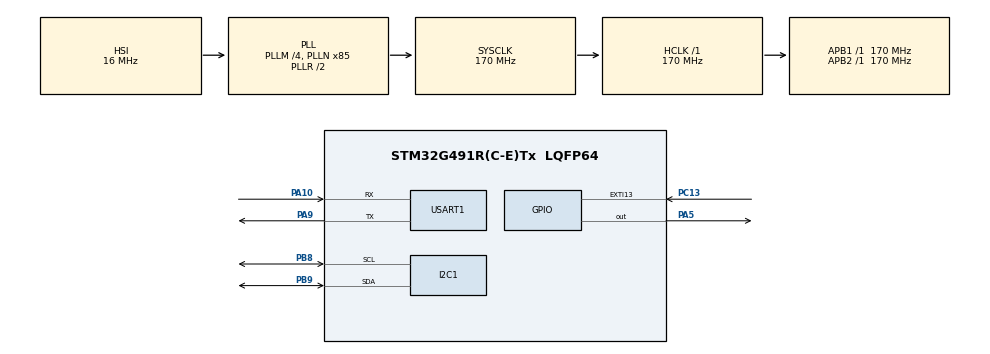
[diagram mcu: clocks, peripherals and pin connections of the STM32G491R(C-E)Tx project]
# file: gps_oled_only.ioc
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I2C1.Timing=0x40B285C2
Mcu.Family=STM32G4
Mcu.Name=STM32G491R(C-E)Tx
Mcu.Package=LQFP64
NUCLEO-G491RE.BUTTON=1
NUCLEO-G491RE.LD2=true
NUCLEO-G491RE.VCP=true
NVIC.EXTI15_10_IRQn=true\:0\:0\:false\:false\:true\:true\:true\:true
NVIC.PriorityGroup=NVIC_PRIORITYGROUP_4
NVIC.USART1_IRQn=true\:0\:0\:false\:false\:true\:true\:true\:true
PA10.Mode=Asynchronous
PA10.Signal=USART1_RX
PA13.GPIO_Label=T_SWDIO
PA13.Signal=SYS_JTMS-SWDIO
PA14.GPIO_Label=T_SWCLK
PA14.Signal=SYS_JTCK-SWCLK
PA2.Signal=LPUART1_TX
PA3.Signal=LPUART1_RX
PA5.Signal=GPIO_Output
PA9.Mode=Asynchronous
PA9.Signal=USART1_TX
PB3.GPIO_Label=T_SWO
PB3.Signal=SYS_JTDO-SWO
PB8-BOOT0.Mode=I2C
PB8-BOOT0.Signal=I2C1_SCL
PB9.Mode=I2C
PB9.Signal=I2C1_SDA
PC13.Signal=GPXTI13
PC14-OSC32_IN.GPIO_Label=RCC_OSC32_IN
PC14-OSC32_IN.Signal=RCC_OSC32_IN
PC15-OSC32_OUT.GPIO_Label=RCC_OSC32_OUT
PC15-OSC32_OUT.Signal=RCC_OSC32_OUT
PF0-OSC_IN.GPIO_Label=RCC_OSC_IN
PF0-OSC_IN.Signal=RCC_OSC_IN
PF1-OSC_OUT.GPIO_Label=RCC_OSC_OUT
PF1-OSC_OUT.Signal=RCC_OSC_OUT
ProjectManager.HeapSize=0x200
ProjectManager.StackSize=0x400
ProjectManager.TargetToolchain=STM32CubeIDE
RCC.ADC12Freq_Value=170000000
RCC.ADC345Freq_Value=170000000
RCC.AHBFreq_Value=170000000
RCC.APB1Freq_Value=170000000
RCC.APB1TimFreq_Value=170000000
RCC.APB2Freq_Value=170000000
RCC.APB2TimFreq_Value=170000000
RCC.CortexFreq_Value=170000000
RCC.EXTERNAL_CLOCK_VALUE=12288000
RCC.HCLKFreq_Value=170000000
RCC.HSE_VALUE=24000000
RCC.HSI48_VALUE=48000000
RCC.HSI_VALUE=16000000
RCC.LSE_VALUE=32768
RCC.PLLM=RCC_PLLM_DIV4
RCC.PLLN=85
RCC.RTCClockSelection=RCC_RTCCLKSOURCE_LSE
RCC.SYSCLKFreq_VALUE=170000000
RCC.SYSCLKSource=RCC_SYSCLKSOURCE_PLLCLK
RCC.USBFreq_Value=48000000
RCC.VCOOutputFreq_Value=340000000
USART1.VirtualMode-Asynchronous=VM_ASYNC
VP_NUCLEO-G491RE_VS_BSP_COMMON.Mode=COMMON
VP_SYS_VS_DBSignals.Mode=DisableDeadBatterySignals
board=NUCLEO-G491RE

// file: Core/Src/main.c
/* USER CODE BEGIN Header */
/**
  ******************************************************************************
  * @file           : main.c
  * @brief          : STM32G491RE + SIM900A LBS Coordinate Tracker (Debug Timing)
  ******************************************************************************
  */
/* USER CODE END Header */
#include "main.h"
#include <string.h>
#include <stdio.h>

#define RX_BUF_SIZE 512
#define SSD1306_I2C_ADDR 0x78

I2C_HandleTypeDef hi2c1;
UART_HandleTypeDef huart1;

uint8_t rx_buffer[RX_BUF_SIZE];
volatile uint16_t rx_index = 0;
uint8_t rx_byte;

/* Complete 5x7 Font Matrix */
const uint8_t Font5x7[][5] = {
    {0x00, 0x00, 0x00, 0x00, 0x00}, {0x00, 0x00, 0x5F, 0x00, 0x00}, {0x00, 0x07, 0x00, 0x07, 0x00}, {0x14, 0x7F, 0x14, 0x7F, 0x14},
    {0x24, 0x2A, 0x7F, 0x2A, 0x12}, {0x23, 0x13, 0x08, 0x64, 0x62}, {0x36, 0x49, 0x55, 0x22, 0x50}, {0x00, 0x05, 0x03, 0x00, 0x00},
    {0x00, 0x1C, 0x22, 0x41, 0x00}, {0x00, 0x41, 0x22, 0x1C, 0x00}, {0x14, 0x08, 0x3E, 0x08, 0x14}, {0x08, 0x08, 0x3E, 0x08, 0x08},
    {0x00, 0x50, 0x30, 0x00, 0x00}, {0x08, 0x08, 0x08, 0x08, 0x08}, {0x00, 0x60, 0x60, 0x00, 0x00}, {0x20, 0x10, 0x08, 0x04, 0x02},
    {0x3E, 0x51, 0x49, 0x45, 0x3E}, {0x00, 0x42, 0x7F, 0x40, 0x00}, {0x42, 0x61, 0x51, 0x49, 0x46}, {0x21, 0x41, 0x45, 0x4B, 0x31},
    {0x18, 0x14, 0x12, 0x7F, 0x10}, {0x27, 0x45, 0x45, 0x45, 0x39}, {0x3C, 0x4A, 0x49, 0x49, 0x30}, {0x01, 0x71, 0x09, 0x05, 0x03},
    {0x36, 0x49, 0x49, 0x49, 0x36}, {0x06, 0x49, 0x49, 0x29, 0x1E}, {0x00, 0x36, 0x36, 0x00, 0x00}, {0x00, 0x56, 0x36, 0x00, 0x00},
    {0x08, 0x14, 0x22, 0x41, 0x00}, {0x24, 0x24, 0x24, 0x24, 0x24}, {0x00, 0x41, 0x22, 0x14, 0x08}, {0x02, 0x01, 0x51, 0x09, 0x06},
    {0x32, 0x49, 0x79, 0x41, 0x3E}, {0x7C, 0x12, 0x11, 0x12, 0x7C}, {0x7F, 0x49, 0x49, 0x49, 0x36}, {0x3E, 0x41, 0x41, 0x41, 0x22},
    {0x7F, 0x41, 0x41, 0x22, 0x1C}, {0x7F, 0x49, 0x49, 0x49, 0x41}, {0x7F, 0x09, 0x09, 0x09, 0x01}, {0x3E, 0x41, 0x49, 0x49, 0x7A},
    {0x7F, 0x08, 0x08, 0x08, 0x7F}, {0x00, 0x41, 0x7F, 0x41, 0x00}, {0x20, 0x40, 0x41, 0x3F, 0x01}, {0x7F, 0x08, 0x14, 0x22, 0x41},
    {0x7F, 0x40, 0x40, 0x40, 0x40}, {0x7F, 0x02, 0x0C, 0x02, 0x7F}, {0x7F, 0x04, 0x08, 0x10, 0x7F}, {0x3E, 0x41, 0x41, 0x41, 0x3E},
    {0x7F, 0x09, 0x09, 0x09, 0x06}, {0x3E, 0x41, 0x51, 0x21, 0x5E}, {0x7F, 0x09, 0x19, 0x29, 0x46}, {0x46, 0x49, 0x49, 0x49, 0x31},
    {0x01, 0x01, 0x7F, 0x01, 0x01}, {0x3F, 0x40, 0x40, 0x40, 0x3F}, {0x1F, 0x20, 0x40, 0x20, 0x1F}, {0x3F, 0x40, 0x38, 0x40, 0x3F},
    {0x63, 0x14, 0x08, 0x14, 0x63}, {0x07, 0x08, 0x70, 0x08, 0x07}, {0x61, 0x51, 0x49, 0x45, 0x43}
};

void SystemClock_Config(void);
static void MX_GPIO_Init(void);
static void MX_I2C1_Init(void);
static void MX_USART1_UART_Init(void);

void OLED_WriteCmd(uint8_t cmd);
void OLED_Init(void);
void OLED_Clear(void);
void OLED_PrintString(const char* str, uint8_t page, uint8_t col);
void Flush_Buffer(void);
HAL_StatusTypeDef Send_AT_Command(const char* cmd, const char* expected_resp, uint32_t timeout);
void Init_GPRS_Stack(void);

/* USER CODE BEGIN 0 */
void OLED_WriteCmd(uint8_t cmd) {
    HAL_I2C_Mem_Write(&hi2c1, SSD1306_I2C_ADDR, 0x00, 1, &cmd, 1, 20);
}

void OLED_Init(void) {
    HAL_Delay(150);
    OLED_WriteCmd(0xAE);
    OLED_WriteCmd(0x20);
    OLED_WriteCmd(0x10);
    OLED_WriteCmd(0xB0);
    OLED_WriteCmd(0x00);
    OLED_WriteCmd(0x10);
    OLED_WriteCmd(0xC8);
    OLED_WriteCmd(0xA1);
    OLED_WriteCmd(0x8D);
    OLED_WriteCmd(0x14);
    OLED_WriteCmd(0xAF);
    HAL_Delay(100);
}

void OLED_Clear(void) {
    uint8_t blank_buffer[128] = {0};
    for (uint8_t i = 0; i < 8; i++) {
        OLED_WriteCmd(0xB0 + i);
        OLED_WriteCmd(0x00);
        OLED_WriteCmd(0x10);
        HAL_I2C_Mem_Write(&hi2c1, SSD1306_I2C_ADDR, 0x40, 1, blank_buffer, 128, 50);
    }
}

void OLED_PrintString(const char* str, uint8_t page, uint8_t col) {
    while (*str) {
        char c = *str++;
        if (c < 32 || c > 90) {
            if (c >= 'a' && c <= 'z') c -= 32;
            else c = ' ';
        }
        uint8_t font_idx = c - 32;

        OLED_WriteCmd(0xB0 + page);
        OLED_WriteCmd(col & 0x0F);
        OLED_WriteCmd(0x10 | ((col >> 4) & 0x0F));
        HAL_I2C_Mem_Write(&hi2c1, SSD1306_I2C_ADDR, 0x40, 1, (uint8_t*)Font5x7[font_idx], 5, 20);
        col += 6;
        if (col > 122) break;
    }
}

void Flush_Buffer(void) {
    memset(rx_buffer, 0, RX_BUF_SIZE);
    rx_index = 0;
}

HAL_StatusTypeDef Send_AT_Command(const char* cmd, const char* expected_resp, uint32_t timeout) {
    Flush_Buffer();
    HAL_UART_Transmit(&huart1, (uint8_t*)cmd, strlen(cmd), 100);

    uint32_t tickstart = HAL_GetTick();
    while ((HAL_GetTick() - tickstart) < timeout) {
        if (strstr((char*)rx_buffer, expected_resp) != NULL) {
            return HAL_OK;
        }
    }
    return HAL_ERROR;
}

void Init_GPRS_Stack(void) {
    OLED_PrintString("INIT GPRS...      ", 0, 0);
    Send_AT_Command("AT+SAPBR=0,1\r\n", "OK", 2000);
    HAL_Delay(500);

    Send_AT_Command("AT+CGATT=0\r\n", "OK", 3000);
    HAL_Delay(1000);

    Send_AT_Command("AT+CGATT=1\r\n", "OK", 4000);
    Send_AT_Command("AT+SAPBR=3,1,\"CONTYPE\",\"GPRS\"\r\n", "OK", 1000);

    // --> CHANGE APN HERE IF NOT AIRTEL ("bsnlnet" or "www") <--
    Send_AT_Command("AT+SAPBR=3,1,\"APN\",\"airtelgprs.com\"\r\n", "OK", 1000);
    Send_AT_Command("AT+SAPBR=1,1\r\n", "OK", 5000);
}
/* USER CODE END 0 */

int main(void)
{
  char dev_status[16] = "IDLE";
  char lat_str[16] = "0.0000";
  char lon_str[16] = "0.0000";
  char screen_buf[24];

  HAL_Init();
  SystemClock_Config();
  MX_GPIO_Init();
  MX_I2C1_Init();
  MX_USART1_UART_Init();

  OLED_Init();
  OLED_Clear();
  OLED_PrintString("SYSTEM BOOTING", 0, 15);
  OLED_PrintString("CONNECTING MOD...", 2, 5);

  /* Start UART Interrupt */
  HAL_UART_Receive_IT(&huart1, &rx_byte, 1);

  /* Wait for SIM900A to respond */
  while(Send_AT_Command("AT\r\n", "OK", 1000) != HAL_OK) {
      HAL_Delay(200);
  }

  OLED_Clear();
  OLED_PrintString("MODEM CONNECTED", 0, 10);

  Init_GPRS_Stack();

    while (1)
    {
        /* 1. Network Status Check */
        if (Send_AT_Command("AT+CREG?\r\n", "OK", 1000) == HAL_OK) {
            if (strstr((char*)rx_buffer, ",1") || strstr((char*)rx_buffer, ",5")) {
                strcpy(dev_status, "CONNECTED");
            } else {
                strcpy(dev_status, "SEARCHING");
            }
        }

        /* 2. Check IP Address Status (If GPRS drops, reconnect) */
        if (Send_AT_Command("AT+SAPBR=2,1\r\n", "0.0.0.0", 1000) == HAL_OK) {
             Init_GPRS_Stack();
        }

        /* 3. Fetch GPS Coordinates (LBS) */
        Flush_Buffer();
        OLED_PrintString("PINGING TOWER... ", 2, 0); // Visual feedback
        HAL_UART_Transmit(&huart1, (uint8_t*)"AT+CIPGSMLOC=1,1\r\n", 18, 100);

        uint32_t tick = HAL_GetTick();
        uint8_t loc_success = 0;
        uint8_t cmd_error = 0;

        // WAIT 35 SECONDS. Network APIs are slow.
        while ((HAL_GetTick() - tick) < 35000) {
            if (strstr((char*)rx_buffer, "+CIPGSMLOC:") != NULL) {
                loc_success = 1;
                break;
            }
            if (strstr((char*)rx_buffer, "ERROR") != NULL) {
                cmd_error = 1;
                break;
            }
        }

        if (loc_success) {
            char *loc_ptr = strstr((char*)rx_buffer, "+CIPGSMLOC:");
            int res_code = -1;
            char temp_date[12] = {0};
            char temp_time[12] = {0};

            if (loc_ptr != NULL) {
                int parsed = sscanf(loc_ptr, "+CIPGSMLOC: %d,%15[^,],%15[^,],%11[^,],%11[^\r\n]",
                           &res_code, lon_str, lat_str, temp_date, temp_time);

                // If it parsed a response code, but it's not 0 (Success)
                if (parsed >= 1 && res_code != 0) {
                    sprintf(lat_str, "ERR:%d", res_code);
                    sprintf(lon_str, "ERR:%d", res_code);
                }
            }
        } else {
            if (cmd_error) {
                strcpy(lat_str, "CMD_ERR"); // GPRS/APN Failed
                strcpy(lon_str, "CMD_ERR");
            } else {
                strcpy(lat_str, "TIMEOUT"); // No reply at all after 35s
                strcpy(lon_str, "TIMEOUT");
            }
        }

        /* 4. Minimal UI Update */
        OLED_Clear();
        sprintf(screen_buf, "STATUS: %s", dev_status);
        OLED_PrintString(screen_buf, 0, 0);

        sprintf(screen_buf, "LAT: %s", lat_str);
        OLED_PrintString(screen_buf, 3, 0);

        sprintf(screen_buf, "LON: %s", lon_str);
        OLED_PrintString(screen_buf, 5, 0);

        /* 5. Loop Delay */
        HAL_Delay(10000);
    }
}

/** HAL configurations generated by CubeMX remain completely standard below **/

void SystemClock_Config(void)
{
  RCC_OscInitTypeDef RCC_OscInitStruct = {0};
  RCC_ClkInitTypeDef RCC_ClkInitStruct = {0};

  HAL_PWREx_ControlVoltageScaling(PWR_REGULATOR_VOLTAGE_SCALE1_BOOST);

  RCC_OscInitStruct.OscillatorType = RCC_OSCILLATORTYPE_HSI;
  RCC_OscInitStruct.HSIState = RCC_HSI_ON;
  RCC_OscInitStruct.HSICalibrationValue = RCC_HSICALIBRATION_DEFAULT;
  RCC_OscInitStruct.PLL.PLLState = RCC_PLL_ON;
  RCC_OscInitStruct.PLL.PLLSource = RCC_PLLSOURCE_HSI;
  RCC_OscInitStruct.PLL.PLLM = RCC_PLLM_DIV4;
  RCC_OscInitStruct.PLL.PLLN = 85;
  RCC_OscInitStruct.PLL.PLLP = RCC_PLLP_DIV2;
  RCC_OscInitStruct.PLL.PLLQ = RCC_PLLQ_DIV2;
  RCC_OscInitStruct.PLL.PLLR = RCC_PLLR_DIV2;
  if (HAL_RCC_OscConfig(&RCC_OscInitStruct) != HAL_OK)
  {
    Error_Handler();
  }

  RCC_ClkInitStruct.ClockType = RCC_CLOCKTYPE_HCLK|RCC_CLOCKTYPE_SYSCLK
                              |RCC_CLOCKTYPE_PCLK1|RCC_CLOCKTYPE_PCLK2;
  RCC_ClkInitStruct.SYSCLKSource = RCC_SYSCLKSOURCE_PLLCLK;
  RCC_ClkInitStruct.AHBCLKDivider = RCC_SYSCLK_DIV1;
  RCC_ClkInitStruct.APB1CLKDivider = RCC_HCLK_DIV1;
  RCC_ClkInitStruct.APB2CLKDivider = RCC_HCLK_DIV1;

  if (HAL_RCC_ClockConfig(&RCC_ClkInitStruct, FLASH_LATENCY_4) != HAL_OK)
  {
    Error_Handler();
  }
}

static void MX_I2C1_Init(void)
{
  hi2c1.Instance = I2C1;
  hi2c1.Init.Timing = 0x40B285C2;
  hi2c1.Init.OwnAddress1 = 0;
  hi2c1.Init.AddressingMode = I2C_ADDRESSINGMODE_7BIT;
  hi2c1.Init.DualAddressMode = I2C_DUALADDRESS_DISABLE;
  hi2c1.Init.OwnAddress2 = 0;
  hi2c1.Init.OwnAddress2Masks = I2C_OA2_NOMASK;
  hi2c1.Init.GeneralCallMode = I2C_GENERALCALL_DISABLE;
  hi2c1.Init.NoStretchMode = I2C_NOSTRETCH_DISABLE;
  if (HAL_I2C_Init(&hi2c1) != HAL_OK)
  {
    Error_Handler();
  }
  if (HAL_I2CEx_ConfigAnalogFilter(&hi2c1, I2C_ANALOGFILTER_ENABLE) != HAL_OK)
  {
    Error_Handler();
  }
  if (HAL_I2CEx_ConfigDigitalFilter(&hi2c1, 0) != HAL_OK)
  {
    Error_Handler();
  }
}

static void MX_USART1_UART_Init(void)
{
  huart1.Instance = USART1;
  huart1.Init.BaudRate = 115200;
  huart1.Init.WordLength = UART_WORDLENGTH_8B;
  huart1.Init.StopBits = UART_STOPBITS_1;
  huart1.Init.Parity = UART_PARITY_NONE;
  huart1.Init.Mode = UART_MODE_TX_RX;
  huart1.Init.HwFlowCtl = UART_HWCONTROL_NONE;
  huart1.Init.OverSampling = UART_OVERSAMPLING_16;
  huart1.Init.OneBitSampling = UART_ONE_BIT_SAMPLE_DISABLE;
  huart1.Init.ClockPrescaler = UART_PRESCALER_DIV1;
  huart1.AdvancedInit.AdvFeatureInit = UART_ADVFEATURE_NO_INIT;
  if (HAL_UART_Init(&huart1) != HAL_OK)
  {
    Error_Handler();
  }
  if (HAL_UARTEx_SetTxFifoThreshold(&huart1, UART_TXFIFO_THRESHOLD_1_8) != HAL_OK)
  {
    Error_Handler();
  }
  if (HAL_UARTEx_SetRxFifoThreshold(&huart1, UART_RXFIFO_THRESHOLD_1_8) != HAL_OK)
  {
    Error_Handler();
  }
  if (HAL_UARTEx_DisableFifoMode(&huart1) != HAL_OK)
  {
    Error_Handler();
  }
}

static void MX_GPIO_Init(void)
{
  /* GPIO Ports Clock Enable */
  __HAL_RCC_GPIOC_CLK_ENABLE();
  __HAL_RCC_GPIOF_CLK_ENABLE();
  __HAL_RCC_GPIOA_CLK_ENABLE();
  __HAL_RCC_GPIOB_CLK_ENABLE();
}

void HAL_UART_RxCpltCallback(UART_HandleTypeDef *huart) {
    if (huart->Instance == USART1) {
        if (rx_index < RX_BUF_SIZE - 1) {
            rx_buffer[rx_index++] = rx_byte;
            rx_buffer[rx_index] = '\0';
        }
        HAL_UART_Receive_IT(&huart1, &rx_byte, 1);
    }
}

void Error_Handler(void)
{
  __disable_irq();
  while (1)
  {
  }
}
